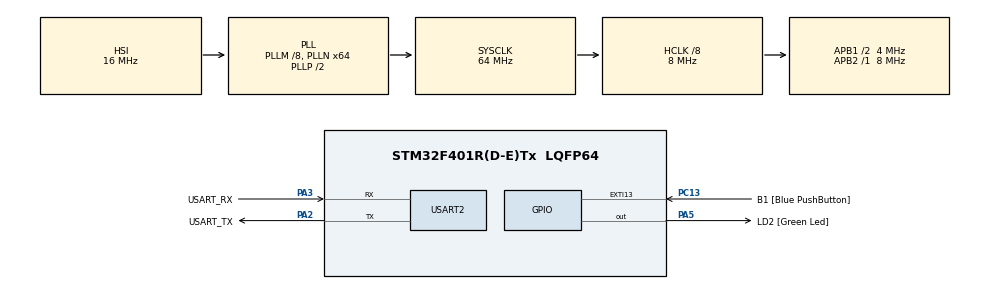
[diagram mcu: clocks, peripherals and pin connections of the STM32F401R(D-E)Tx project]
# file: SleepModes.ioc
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Mcu.Family=STM32F4
PC15-OSC32_OUT.Mode=LSE-External-Oscillator
PA2.GPIO_PuPd=GPIO_NOPULL
RCC.CortexFreq_Value=8000000
PC13-ANTI_TAMP.GPIO_PuPd=GPIO_PULLUP
PC13-ANTI_TAMP.GPIO_Label=B1 [Blue PushButton]
PA14.GPIO_Label=TCK
PA3.GPIO_PuPd=GPIO_NOPULL
PH1\ -\ OSC_OUT.Mode=HSE-External-Clock-Source
PA2.GPIO_Speed=GPIO_SPEED_FREQ_LOW
RCC.APB1CLKDivider=RCC_HCLK_DIV2
PC14-OSC32_IN.Signal=RCC_OSC32_IN
PA3.GPIO_Speed=GPIO_SPEED_FREQ_LOW
RCC.SYSCLKSource=RCC_SYSCLKSOURCE_PLLCLK
ProjectManager.StackSize=0x400
PA13.Signal=SYS_JTMS-SWDIO
PA3.Mode=Asynchronous
PH0\ -\ OSC_IN.Mode=HSE-External-Clock-Source
PH0\ -\ OSC_IN.Signal=RCC_OSC_IN
ProjectManager.TargetToolchain=STM32CubeIDE
PA3.GPIO_Mode=GPIO_MODE_AF_PP
RCC.HCLKFreq_Value=8000000
RCC.APB2TimFreq_Value=8000000
PC15-OSC32_OUT.Signal=RCC_OSC32_OUT
RCC.AHBFreq_Value=8000000
NVIC.EXTI15_10_IRQn=true\:0\:0\:false\:false\:true\:true\:true
PA5.Signal=GPIO_Output
RCC.HSE_VALUE=8000000
PH1\ -\ OSC_OUT.Signal=RCC_OSC_OUT
board=NUCLEO-F401RE
PC13-ANTI_TAMP.Signal=GPXTI13
RCC.VCOOutputFreq_Value=128000000
RCC.APB2Freq_Value=8000000
PC14-OSC32_IN.Mode=LSE-External-Oscillator
PA14.Mode=Serial_Wire
PA5.GPIO_PuPd=GPIO_NOPULL
RCC.AHBCLKDivider=RCC_SYSCLK_DIV8
PA13.Mode=Serial_Wire
Mcu.Name=STM32F401R(D-E)Tx
PA2.Signal=USART2_TX
PA13.GPIO_Label=TMS
RCC.48MHZClocksFreq_Value=18285714.285714287
PB3.Signal=SYS_JTDO-SWO
RCC.SYSCLKFreq_VALUE=64000000
Mcu.Package=LQFP64
PA5.GPIO_Label=LD2 [Green Led]
USART2.VirtualMode=VM_ASYNC
PC13-ANTI_TAMP.GPIO_ModeDefaultEXTI=GPIO_MODE_IT_FALLING
PA2.GPIO_Label=USART_TX
PA14.Signal=SYS_JTCK-SWCLK
ProjectManager.HeapSize=0x200
RCC.HSI_VALUE=16000000
PA5.GPIO_Speed=GPIO_SPEED_FREQ_LOW
RCC.PLLQ=7
NVIC.PriorityGroup=NVIC_PRIORITYGROUP_0
RCC.PLLM=8
RCC.PLLN=64
RCC.APB1TimFreq_Value=8000000
PA2.Mode=Asynchronous
RCC.APB1Freq_Value=4000000
PA5.GPIO_Mode=GPIO_MODE_OUTPUT_PP
PA3.GPIO_Label=USART_RX
PA3.Signal=USART2_RX
PA2.GPIO_Mode=GPIO_MODE_AF_PP
PB3.GPIO_Label=SWO

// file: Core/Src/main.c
/* USER CODE BEGIN Header */
/**
  ******************************************************************************
  * @file           : main.c
  * @brief          : Main program body
  ******************************************************************************
  * @attention
  *
  * <h2><center>&copy; Copyright (c) 2021 STMicroelectronics.
  * All rights reserved.</center></h2>
  *
  * This software component is licensed by ST under BSD 3-Clause license,
  * the "License"; You may not use this file except in compliance with the
  * License. You may obtain a copy of the License at:
  *                        opensource.org/licenses/BSD-3-Clause
  *
  ******************************************************************************
  */
/* USER CODE END Header */
#include "main.h"

UART_HandleTypeDef huart2;

/* USER CODE BEGIN PV */
volatile _Bool flag = 0;

/* USER CODE END PV */

void SystemClock_Config(void);
static void MX_GPIO_Init(void);
static void MX_USART2_UART_Init(void);

int main(void)
{

  /* MCU Configuration--------------------------------------------------------*/

  /* Reset of all peripherals, Initializes the Flash interface and the Systick. */
  HAL_Init();

  /* Configure the system clock */
  SystemClock_Config();

  /* Initialize all configured peripherals */
  MX_GPIO_Init();
  MX_USART2_UART_Init();

  /* Infinite loop */
  /* USER CODE BEGIN WHILE */

  while (1)
  {
	  if (flag) {
		  for (uint8_t i=0;i<4;i++) {
			  HAL_GPIO_TogglePin(LD2_GPIO_Port, LD2_Pin);
			  	  HAL_Delay(200);
		  }
	  	HAL_SuspendTick();
	  	if (__HAL_RCC_GPIOA_IS_CLK_ENABLED()) {
	  		__HAL_RCC_GPIOA_CLK_DISABLE();
	  	}
	  	if (__HAL_RCC_GPIOB_IS_CLK_ENABLED()) {
	  		__HAL_RCC_GPIOB_CLK_DISABLE();
	  	}
	  	if (__HAL_RCC_GPIOC_IS_CLK_ENABLED()) {
	  		__HAL_RCC_GPIOC_CLK_DISABLE();
	  	}

	  	if (__HAL_RCC_GPIOH_IS_CLK_ENABLED()) {
	  		__HAL_RCC_GPIOH_CLK_DISABLE();
	  	}

	  	if (__HAL_RCC_DMA1_IS_CLK_ENABLED()) {
	  		__HAL_RCC_DMA1_CLK_DISABLE();
	  	}
	  	if (__HAL_RCC_DMA2_IS_CLK_ENABLED()) {
	  		__HAL_RCC_DMA2_CLK_DISABLE();
	  	}

	  	HAL_PWR_EnterSTOPMode(PWR_MAINREGULATOR_ON, PWR_STOPENTRY_WFI);
	  	__HAL_RCC_GPIOA_CLK_ENABLE();
	  	__HAL_RCC_GPIOC_CLK_ENABLE();
	  	SystemClock_Config();
	  	HAL_ResumeTick();
	  	  } else {

	  	  }
	  HAL_GPIO_TogglePin(LD2_GPIO_Port, LD2_Pin);
	  HAL_Delay(500);

    /* USER CODE END WHILE */

  }
}

void SystemClock_Config(void)
{
  RCC_OscInitTypeDef RCC_OscInitStruct = {0};
  RCC_ClkInitTypeDef RCC_ClkInitStruct = {0};

  /** Configure the main internal regulator output voltage
  */
  __HAL_RCC_PWR_CLK_ENABLE();
  __HAL_PWR_VOLTAGESCALING_CONFIG(PWR_REGULATOR_VOLTAGE_SCALE2);
  /** Initializes the RCC Oscillators according to the specified parameters
  * in the RCC_OscInitTypeDef structure.
  */
  RCC_OscInitStruct.OscillatorType = RCC_OSCILLATORTYPE_HSI;
  RCC_OscInitStruct.HSIState = RCC_HSI_ON;
  RCC_OscInitStruct.HSICalibrationValue = RCC_HSICALIBRATION_DEFAULT;
  RCC_OscInitStruct.PLL.PLLState = RCC_PLL_ON;
  RCC_OscInitStruct.PLL.PLLSource = RCC_PLLSOURCE_HSI;
  RCC_OscInitStruct.PLL.PLLM = 8;
  RCC_OscInitStruct.PLL.PLLN = 64;
  RCC_OscInitStruct.PLL.PLLP = RCC_PLLP_DIV2;
  RCC_OscInitStruct.PLL.PLLQ = 7;
  if (HAL_RCC_OscConfig(&RCC_OscInitStruct) != HAL_OK)
  {
    Error_Handler();
  }
  /** Initializes the CPU, AHB and APB buses clocks
  */
  RCC_ClkInitStruct.ClockType = RCC_CLOCKTYPE_HCLK|RCC_CLOCKTYPE_SYSCLK
                              |RCC_CLOCKTYPE_PCLK1|RCC_CLOCKTYPE_PCLK2;
  RCC_ClkInitStruct.SYSCLKSource = RCC_SYSCLKSOURCE_PLLCLK;
  RCC_ClkInitStruct.AHBCLKDivider = RCC_SYSCLK_DIV8;
  RCC_ClkInitStruct.APB1CLKDivider = RCC_HCLK_DIV2;
  RCC_ClkInitStruct.APB2CLKDivider = RCC_HCLK_DIV1;

  if (HAL_RCC_ClockConfig(&RCC_ClkInitStruct, FLASH_LATENCY_0) != HAL_OK)
  {
    Error_Handler();
  }
}

static void MX_USART2_UART_Init(void)
{

  huart2.Instance = USART2;
  huart2.Init.BaudRate = 115200;
  huart2.Init.WordLength = UART_WORDLENGTH_8B;
  huart2.Init.StopBits = UART_STOPBITS_1;
  huart2.Init.Parity = UART_PARITY_NONE;
  huart2.Init.Mode = UART_MODE_TX_RX;
  huart2.Init.HwFlowCtl = UART_HWCONTROL_NONE;
  huart2.Init.OverSampling = UART_OVERSAMPLING_16;
  if (HAL_UART_Init(&huart2) != HAL_OK)
  {
    Error_Handler();
  }

}

static void MX_GPIO_Init(void)
{
  GPIO_InitTypeDef GPIO_InitStruct = {0};

  /* GPIO Ports Clock Enable */
  __HAL_RCC_GPIOC_CLK_ENABLE();
  __HAL_RCC_GPIOH_CLK_ENABLE();
  __HAL_RCC_GPIOA_CLK_ENABLE();
  __HAL_RCC_GPIOB_CLK_ENABLE();

  /*Configure GPIO pin Output Level */
  HAL_GPIO_WritePin(LD2_GPIO_Port, LD2_Pin, GPIO_PIN_RESET);

  /*Configure GPIO pin : B1_Pin */
  GPIO_InitStruct.Pin = B1_Pin;
  GPIO_InitStruct.Mode = GPIO_MODE_IT_FALLING;
  GPIO_InitStruct.Pull = GPIO_PULLUP;
  HAL_GPIO_Init(B1_GPIO_Port, &GPIO_InitStruct);

  /*Configure GPIO pin : LD2_Pin */
  GPIO_InitStruct.Pin = LD2_Pin;
  GPIO_InitStruct.Mode = GPIO_MODE_OUTPUT_PP;
  GPIO_InitStruct.Pull = GPIO_NOPULL;
  GPIO_InitStruct.Speed = GPIO_SPEED_FREQ_LOW;
  HAL_GPIO_Init(LD2_GPIO_Port, &GPIO_InitStruct);

  /* EXTI interrupt init*/
  HAL_NVIC_SetPriority(EXTI15_10_IRQn, 0, 0);
  HAL_NVIC_EnableIRQ(EXTI15_10_IRQn);

}

/* USER CODE BEGIN 4 */
void HAL_GPIO_EXTI_Callback(uint16_t GPIO_Pin) {
	if (GPIO_Pin == GPIO_PIN_13) {
		flag = !flag;

	} else __NOP();
}

/* USER CODE END 4 */

void Error_Handler(void)
{
  __disable_irq();
  while (1)
  {
  }
}

/************************ (C) COPYRIGHT STMicroelectronics *****END OF FILE****/
